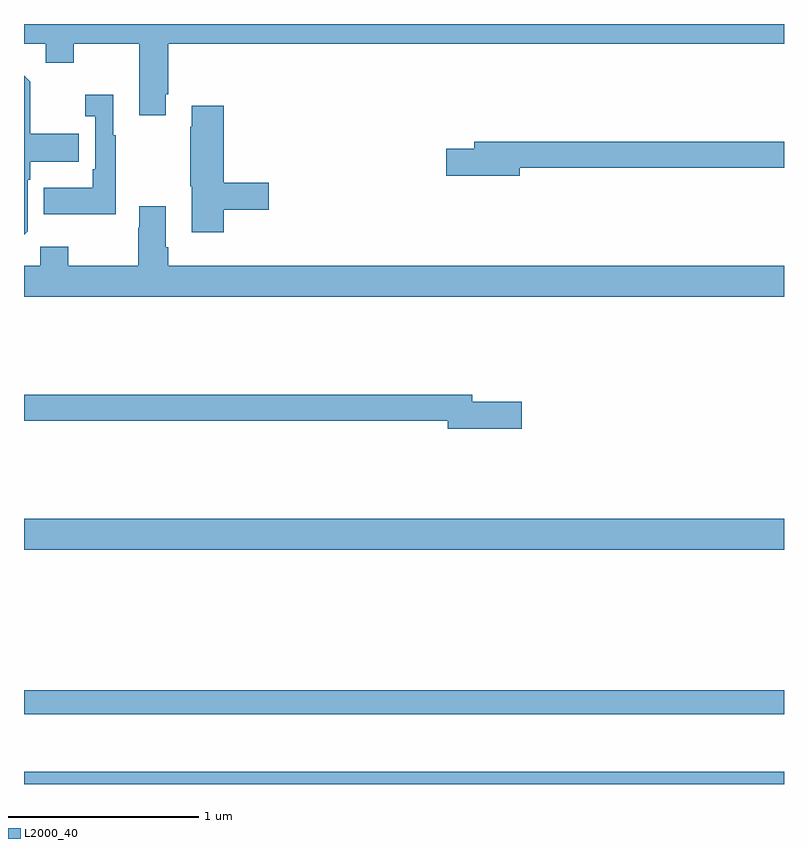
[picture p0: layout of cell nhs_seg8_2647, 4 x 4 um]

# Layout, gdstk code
import gdstk
lib = gdstk.Library(unit=1e-6, precision=1e-09)
def R(c, l, rs):  # rectangles x0, y0, x1, y1
    for r in rs: c.add(gdstk.rectangle(r[:2], r[2:], *l))
def P(c, l, *ps):  # polygons
    for p in ps: c.add(gdstk.Polygon(p, *l))
L2000_40 = (2000, 40)

nhs_seg8_2647 = lib.new_cell('nhs_seg8_2647')
R(nhs_seg8_2647, L2000_40, [(277,1149.9,281,1149.964), (277,1150.266,281,1150.394), (277,1151.132,281,1151.296)])
P(nhs_seg8_2647, L2000_40, [(277.747,1153.531),(277.76,1153.531),(277.76,1153.796),(281,1153.796),(281,1153.9),(277,1153.9),(277,1153.796),(277.115,1153.796),(277.115,1153.697),(277.263,1153.697),(277.263,1153.796),(277.607,1153.796),(277.607,1153.419),(277.747,1153.419)],
  [(277.02,1152.81),(277.02,1153.079),(277.033,1153.079),(277.033,1153.175),(277.289,1153.175),(277.289,1153.323),(277.033,1153.323),(277.033,1153.595),(277,1153.628),(277,1152.79)],
  [(277.483,1153.315),(277.471,1153.315),(277.471,1153.528),(277.323,1153.528),(277.323,1153.415),(277.374,1153.415),(277.374,1153.135),(277.362,1153.135),(277.362,1153.039),(277.105,1153.039),(277.105,1152.899),(277.483,1152.899)],
  [(278.051,1152.922),(278.287,1152.922),(278.287,1153.064),(278.051,1153.064),(278.051,1153.471),(277.883,1153.471),(277.883,1153.358),(277.876,1153.358),(277.876,1153.047),(277.883,1153.047),(277.883,1152.804),(278.051,1152.804)],
  [(279.61,1153.144),(281,1153.144),(281,1153.28),(279.371,1153.28),(279.371,1153.244),(279.222,1153.244),(279.222,1153.102),(279.61,1153.102)],
  [(281,1152.628),(277.76,1152.628),(277.76,1152.724),(277.747,1152.724),(277.747,1152.94),(277.607,1152.94),(277.607,1152.827),(277.6,1152.827),(277.6,1152.628),(277.233,1152.628),(277.233,1152.727),(277.086,1152.727),(277.086,1152.628),(277,1152.628),(277,1152.464),(281,1152.464)],
  [(279.619,1151.912),(279.358,1151.912),(279.358,1151.948),(277,1151.948),(277,1151.812),(279.23,1151.812),(279.23,1151.77),(279.619,1151.77)])

lib.write_gds('nhs_seg8_2647.gds')
